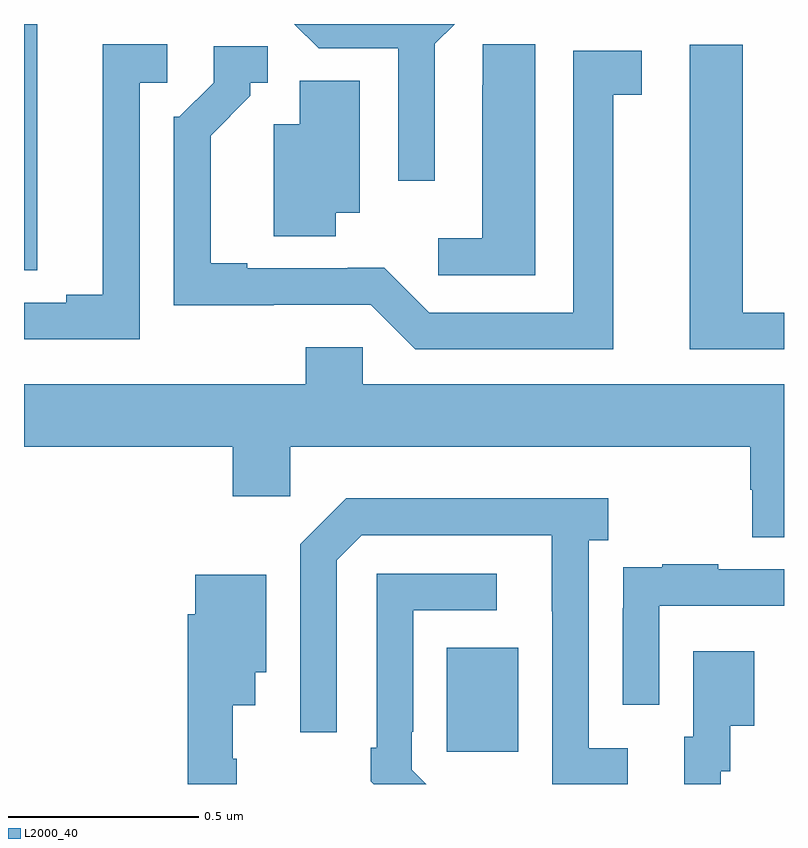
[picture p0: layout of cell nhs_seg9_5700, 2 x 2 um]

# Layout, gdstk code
import gdstk
lib = gdstk.Library(unit=1e-6, precision=1e-09)
def R(c, l, rs):  # rectangles x0, y0, x1, y1
    for r in rs: c.add(gdstk.rectangle(r[:2], r[2:], *l))
def P(c, l, *ps):  # polygons
    for p in ps: c.add(gdstk.Polygon(p, *l))
L2000_40 = (2000, 40)

nhs_seg9_5700 = lib.new_cell('nhs_seg9_5700')
R(nhs_seg9_5700, L2000_40, [(183.113,1227.585,183.301,1227.859), (182,1228.852,182.035,1229.5)])
P(nhs_seg9_5700, L2000_40, [(183.081,1229.448),(183.133,1229.5),(182.711,1229.5),(182.775,1229.436),(182.985,1229.436),(182.985,1229.088),(183.081,1229.088)],
  [(182.304,1229.346),(182.377,1229.346),(182.377,1229.447),(182.207,1229.447),(182.207,1228.787),(182.111,1228.787),(182.111,1228.767),(182,1228.767),(182,1228.671),(182.304,1228.671)],
  [(183.346,1229.447),(183.207,1229.447),(183.207,1229.339),(183.206,1229.339),(183.206,1228.936),(183.09,1228.936),(183.09,1228.839),(183.346,1228.839)],
  [(184,1228.74),(183.892,1228.74),(183.892,1229.446),(183.752,1229.446),(183.752,1228.644),(184,1228.644)],
  [(183.55,1229.314),(183.625,1229.314),(183.625,1229.43),(183.446,1229.43),(183.446,1228.74),(183.066,1228.74),(182.948,1228.858),(182.852,1228.858),(182.852,1228.857),(182.587,1228.857),(182.587,1228.87),(182.491,1228.87),(182.491,1229.206),(182.596,1229.311),(182.596,1229.346),(182.641,1229.346),(182.641,1229.442),(182.499,1229.442),(182.499,1229.346),(182.409,1229.256),(182.394,1229.256),(182.394,1228.76),(182.657,1228.76),(182.657,1228.761),(182.913,1228.761),(183.03,1228.644),(183.55,1228.644)],
  [(182.821,1229.003),(182.884,1229.003),(182.884,1229.351),(182.726,1229.351),(182.726,1229.236),(182.657,1229.236),(182.657,1228.942),(182.821,1228.942)],
  [(184,1228.552),(182.892,1228.552),(182.892,1228.65),(182.741,1228.65),(182.741,1228.552),(182,1228.552),(182,1228.388),(182.549,1228.388),(182.549,1228.257),(182.7,1228.257),(182.7,1228.388),(183.911,1228.388),(183.911,1228.275),(183.916,1228.275),(183.916,1228.15),(184,1228.15)],
  [(183.589,1227.594),(183.486,1227.594),(183.486,1228.142),(183.538,1228.142),(183.538,1228.252),(182.848,1228.252),(182.727,1228.131),(182.727,1227.636),(182.823,1227.636),(182.823,1228.089),(182.889,1228.155),(183.389,1228.155),(183.389,1227.955),(183.39,1227.955),(183.39,1227.5),(183.589,1227.5)],
  [(183.672,1227.969),(184,1227.969),(184,1228.065),(183.827,1228.065),(183.827,1228.078),(183.679,1228.078),(183.679,1228.071),(183.577,1228.071),(183.577,1227.962),(183.576,1227.962),(183.576,1227.708),(183.672,1227.708)],
  [(183.021,1227.537),(183.021,1227.637),(183.024,1227.637),(183.024,1227.957),(183.244,1227.957),(183.244,1228.053),(182.928,1228.053),(182.928,1227.595),(182.913,1227.595),(182.913,1227.507),(182.92,1227.5),(183.058,1227.5)],
  [(182.56,1227.567),(182.549,1227.567),(182.549,1227.707),(182.608,1227.707),(182.608,1227.794),(182.638,1227.794),(182.638,1228.051),(182.45,1228.051),(182.45,1227.947),(182.431,1227.947),(182.431,1227.5),(182.56,1227.5)],
  [(183.834,1227.534),(183.859,1227.534),(183.859,1227.653),(183.922,1227.653),(183.922,1227.85),(183.761,1227.85),(183.761,1227.624),(183.737,1227.624),(183.737,1227.5),(183.834,1227.5)])

lib.write_gds('nhs_seg9_5700.gds')
